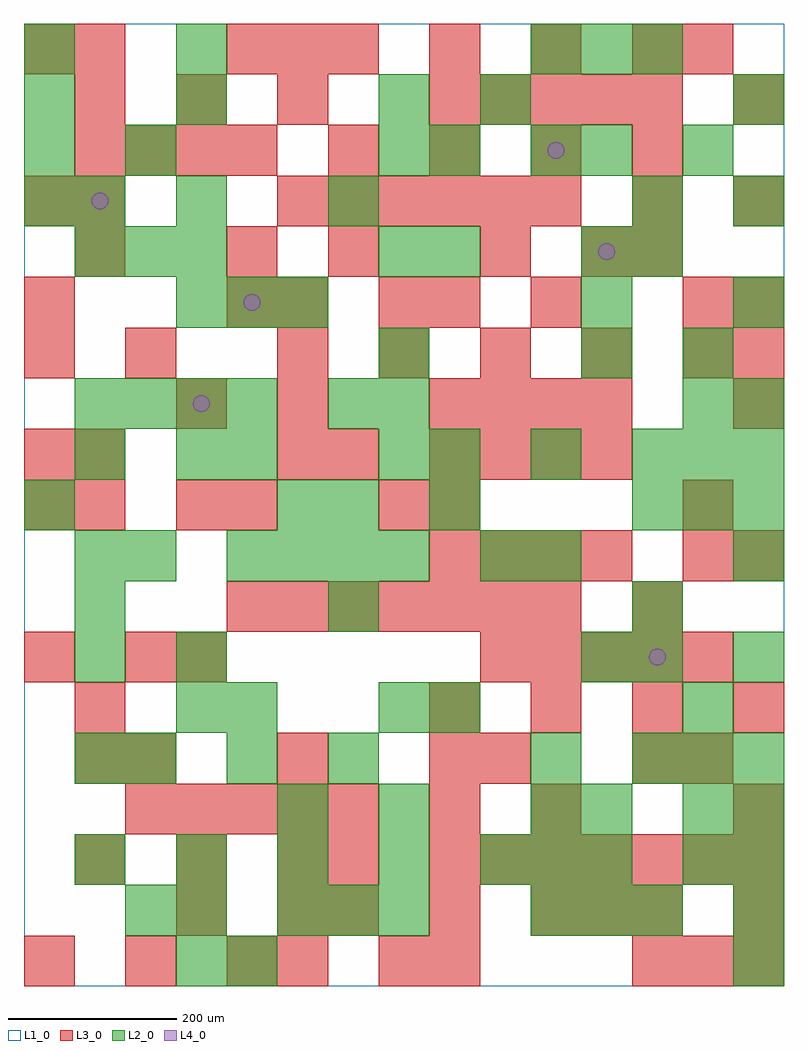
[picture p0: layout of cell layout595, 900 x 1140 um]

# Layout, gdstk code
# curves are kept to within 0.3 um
import gdstk
lib = gdstk.Library(unit=1e-6, precision=1e-09)
def R(c, l, rs):  # rectangles x0, y0, x1, y1
    for r in rs: c.add(gdstk.rectangle(r[:2], r[2:], *l))
def A(c, l, x, y, w, h, nx, ny, dx, dy):  # array of equal rectangles
    R(c, l, [(x+i*dx, y+j*dy, x+i*dx+w, y+j*dy+h) for i in range(nx) for j in range(ny)])
def P(c, l, *ps):  # polygons
    for p in ps: c.add(gdstk.Polygon(p, *l))
L1_0 = (1, 0)
L2_0 = (2, 0)
L3_0 = (3, 0)
L4_0 = (4, 0)

layout595 = lib.new_cell('layout595')
R(layout595, L1_0, [(0,0,900,1140)])
A(layout595, L2_0, 240, 0, 60, 60, 1, 3, 0, 300)
A(layout595, L2_0, 840, 0, 60, 60, 1, 4, 0, 60)
A(layout595, L2_0, 300, 60, 60, 60, 3, 1, 60, 0)
A(layout595, L2_0, 600, 60, 60, 60, 3, 2, 60, 1020)
A(layout595, L2_0, 60, 120, 60, 60, 5, 1, 120, 0)
A(layout595, L2_0, 600, 120, 60, 60, 1, 3, 0, 60)
A(layout595, L2_0, 120, 240, 60, 60, 3, 1, 120, 0)
A(layout595, L2_0, 720, 240, 60, 60, 3, 2, 60, 300)
A(layout595, L2_0, 60, 360, 60, 60, 1, 3, 0, 60)
A(layout595, L2_0, 840, 360, 60, 60, 1, 3, 0, 120)
A(layout595, L2_0, 360, 420, 60, 60, 1, 3, 0, 120)
A(layout595, L2_0, 240, 480, 60, 60, 4, 1, 60, 0)
A(layout595, L2_0, 420, 600, 60, 60, 1, 3, 0, 60)
A(layout595, L2_0, 480, 600, 60, 60, 3, 1, 120, 0)
A(layout595, L2_0, 780, 600, 60, 60, 1, 3, 0, 60)
A(layout595, L2_0, 60, 660, 60, 60, 4, 1, 60, 0)
A(layout595, L2_0, 840, 660, 60, 60, 1, 4, 0, 120)
A(layout595, L2_0, 660, 720, 60, 60, 1, 3, 0, 60)
A(layout595, L2_0, 180, 780, 60, 60, 3, 1, 60, 0)
A(layout595, L2_0, 60, 840, 60, 60, 3, 1, 60, 0)
A(layout595, L2_0, 0, 900, 60, 60, 1, 4, 0, 60)
R(layout595, L2_0, [(180,0,240,60), (120,60,180,120), (180,60,240,120), (660,120,720,180), (780,120,840,180), (300,180,360,240), (420,180,480,240), (660,180,720,240), (780,180,840,240), (60,240,120,300), (180,300,240,360), (420,300,480,360), (480,300,540,360), (780,300,840,360), (180,360,240,420), (660,360,720,420), (720,360,780,420), (720,420,780,480), (120,480,180,540), (540,480,600,540), (600,480,660,540), (0,540,60,600), (300,540,360,600), (480,540,540,600), (60,600,120,660), (180,600,240,660), (420,840,480,900), (480,840,540,900), (720,840,780,900), (60,900,120,960), (180,900,240,960), (360,900,420,960), (720,900,780,960), (120,960,180,1020), (420,960,480,1020), (480,960,540,1020), (600,960,660,1020), (660,960,720,1020), (780,960,840,1020), (180,1020,240,1080), (420,1020,480,1080), (540,1020,600,1080), (180,1080,240,1140)])
A(layout595, L3_0, 0, 0, 60, 60, 3, 1, 120, 0)
A(layout595, L3_0, 720, 0, 60, 60, 3, 1, 60, 0)
A(layout595, L3_0, 360, 60, 60, 60, 3, 1, 120, 0)
A(layout595, L3_0, 720, 60, 60, 60, 1, 3, 0, 180)
A(layout595, L3_0, 60, 120, 60, 60, 3, 2, 120, 900)
A(layout595, L3_0, 480, 120, 60, 60, 7, 1, 60, 0)
A(layout595, L3_0, 120, 180, 60, 60, 5, 1, 60, 0)
A(layout595, L3_0, 120, 240, 60, 60, 3, 1, 180, 0)
A(layout595, L3_0, 480, 300, 60, 60, 4, 1, 120, 0)
A(layout595, L3_0, 540, 360, 60, 60, 5, 1, 60, 0)
A(layout595, L3_0, 240, 420, 60, 60, 7, 1, 60, 0)
A(layout595, L3_0, 480, 480, 60, 60, 4, 2, 60, 120)
A(layout595, L3_0, 480, 660, 60, 60, 4, 1, 60, 0)
A(layout595, L3_0, 840, 660, 60, 60, 1, 3, 0, 60)
A(layout595, L3_0, 300, 720, 60, 60, 5, 1, 120, 0)
A(layout595, L3_0, 300, 900, 60, 60, 6, 1, 60, 0)
A(layout595, L3_0, 60, 960, 60, 60, 4, 1, 60, 0)
A(layout595, L3_0, 360, 960, 60, 60, 4, 1, 120, 0)
A(layout595, L3_0, 480, 1020, 60, 60, 5, 1, 60, 0)
A(layout595, L3_0, 240, 1080, 60, 60, 3, 1, 60, 0)
A(layout595, L3_0, 480, 1080, 60, 60, 3, 1, 120, 0)
R(layout595, L3_0, [(300,0,360,60), (420,0,480,60), (480,0,540,60), (180,60,240,120), (300,60,360,120), (660,60,720,120), (840,60,900,120), (360,120,420,180), (480,180,540,240), (600,180,660,240), (840,180,900,240), (60,240,120,300), (540,240,600,300), (780,240,840,300), (60,300,120,360), (0,360,60,420), (120,360,180,420), (180,360,240,420), (780,480,840,540), (840,480,900,540), (0,540,60,600), (60,540,120,600), (180,540,240,600), (240,540,300,600), (420,540,480,600), (480,540,540,600), (780,540,840,600), (0,600,60,660), (60,600,120,660), (300,600,360,660), (360,600,420,660), (180,660,240,720), (300,660,360,720), (0,720,60,780), (120,720,180,780), (0,780,60,840), (240,780,300,840), (300,780,360,840), (420,780,480,840), (480,780,540,840), (600,780,660,840), (780,780,840,840), (60,840,120,900), (240,840,300,900), (360,840,420,900), (540,840,600,900), (660,840,720,900), (720,840,780,900), (0,900,60,960), (60,900,120,960), (720,900,780,960), (840,900,900,960), (840,1020,900,1080), (0,1080,60,1140), (60,1080,120,1140), (780,1080,840,1140)])
P(layout595, L4_0, [(100,930),(99.239,933.827),(97.071,937.071),(93.827,939.239),(90,940),(86.173,939.239),(82.929,937.071),(80.761,933.827),(80,930),(80.761,926.173),(82.929,922.929),(86.173,920.761),(90,920),(93.827,920.761),(97.071,922.929),(99.239,926.173)],
  [(220,690),(219.239,693.827),(217.071,697.071),(213.827,699.239),(210,700),(206.173,699.239),(202.929,697.071),(200.761,693.827),(200,690),(200.761,686.173),(202.929,682.929),(206.173,680.761),(210,680),(213.827,680.761),(217.071,682.929),(219.239,686.173)],
  [(280,810),(279.239,813.827),(277.071,817.071),(273.827,819.239),(270,820),(266.173,819.239),(262.929,817.071),(260.761,813.827),(260,810),(260.761,806.173),(262.929,802.929),(266.173,800.761),(270,800),(273.827,800.761),(277.071,802.929),(279.239,806.173)],
  [(640,990),(639.239,993.827),(637.071,997.071),(633.827,999.239),(630,1000),(626.173,999.239),(622.929,997.071),(620.761,993.827),(620,990),(620.761,986.173),(622.929,982.929),(626.173,980.761),(630,980),(633.827,980.761),(637.071,982.929),(639.239,986.173)],
  [(700,870),(699.239,873.827),(697.071,877.071),(693.827,879.239),(690,880),(686.173,879.239),(682.929,877.071),(680.761,873.827),(680,870),(680.761,866.173),(682.929,862.929),(686.173,860.761),(690,860),(693.827,860.761),(697.071,862.929),(699.239,866.173)],
  [(760,390),(759.239,393.827),(757.071,397.071),(753.827,399.239),(750,400),(746.173,399.239),(742.929,397.071),(740.761,393.827),(740,390),(740.761,386.173),(742.929,382.929),(746.173,380.761),(750,380),(753.827,380.761),(757.071,382.929),(759.239,386.173)])

lib.write_gds('layout595.gds')
